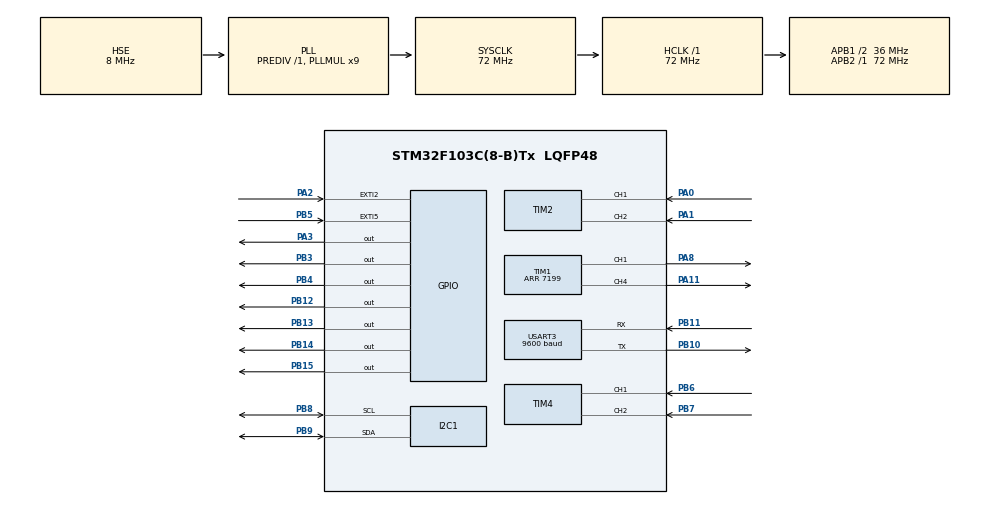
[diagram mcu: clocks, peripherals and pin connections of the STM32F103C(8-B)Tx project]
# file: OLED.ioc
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Mcu.Family=STM32F1
Mcu.Name=STM32F103C(8-B)Tx
Mcu.Package=LQFP48
NVIC.EXTI2_IRQn=true\:0\:0\:false\:false\:true\:true\:true\:true
NVIC.EXTI9_5_IRQn=true\:0\:0\:false\:false\:true\:true\:true\:true
NVIC.PriorityGroup=NVIC_PRIORITYGROUP_4
NVIC.TIM3_IRQn=true\:0\:0\:false\:false\:true\:true\:true\:true
NVIC.USART3_IRQn=true\:0\:0\:false\:false\:true\:true\:true\:true
PA0-WKUP.Signal=S_TIM2_CH1_ETR
PA1.Signal=S_TIM2_CH2
PA11.Signal=S_TIM1_CH4
PA13.Mode=Serial_Wire
PA13.Signal=SYS_JTMS-SWDIO
PA14.Mode=Serial_Wire
PA14.Signal=SYS_JTCK-SWCLK
PA2.GPIO_ModeDefaultEXTI=GPIO_MODE_IT_RISING_FALLING
PA2.Signal=GPXTI2
PA3.GPIO_Speed=GPIO_SPEED_FREQ_HIGH
PA3.Signal=GPIO_Output
PA8.Signal=S_TIM1_CH1
PB10.Mode=Asynchronous
PB10.Signal=USART3_TX
PB11.Mode=Asynchronous
PB11.Signal=USART3_RX
PB12.Signal=GPIO_Output
PB13.Signal=GPIO_Output
PB14.Signal=GPIO_Output
PB15.Signal=GPIO_Output
PB3.GPIO_Speed=GPIO_SPEED_FREQ_HIGH
PB3.Signal=GPIO_Output
PB4.GPIO_Speed=GPIO_SPEED_FREQ_HIGH
PB4.Signal=GPIO_Output
PB5.GPIO_ModeDefaultEXTI=GPIO_MODE_IT_FALLING
PB5.GPIO_PuPd=GPIO_PULLUP
PB5.Signal=GPXTI5
PB6.Signal=S_TIM4_CH1
PB7.Signal=S_TIM4_CH2
PB8.Mode=I2C
PB8.Signal=I2C1_SCL
PB9.Mode=I2C
PB9.Signal=I2C1_SDA
PC14-OSC32_IN.Mode=LSE-External-Oscillator
PC14-OSC32_IN.Signal=RCC_OSC32_IN
PC15-OSC32_OUT.Mode=LSE-External-Oscillator
PC15-OSC32_OUT.Signal=RCC_OSC32_OUT
PD0-OSC_IN.Mode=HSE-External-Oscillator
PD0-OSC_IN.Signal=RCC_OSC_IN
PD1-OSC_OUT.Mode=HSE-External-Oscillator
PD1-OSC_OUT.Signal=RCC_OSC_OUT
ProjectManager.HeapSize=0x200
ProjectManager.StackSize=0x400
ProjectManager.TargetToolchain=MDK-ARM V5.32
RCC.AHBFreq_Value=72000000
RCC.APB1CLKDivider=RCC_HCLK_DIV2
RCC.APB1Freq_Value=36000000
RCC.APB1TimFreq_Value=72000000
RCC.APB2Freq_Value=72000000
RCC.APB2TimFreq_Value=72000000
RCC.HCLKFreq_Value=72000000
RCC.PLLMUL=RCC_PLL_MUL9
RCC.PLLSourceVirtual=RCC_PLLSOURCE_HSE
RCC.SYSCLKFreq_VALUE=72000000
RCC.SYSCLKSource=RCC_SYSCLKSOURCE_PLLCLK
RCC.USBFreq_Value=72000000
SH.S_TIM1_CH1.0=TIM1_CH1,PWM Generation1 CH1
SH.S_TIM1_CH4.0=TIM1_CH4,PWM Generation4 CH4
SH.S_TIM2_CH1_ETR.0=TIM2_CH1,Encoder_Interface
SH.S_TIM2_CH2.0=TIM2_CH2,Encoder_Interface
SH.S_TIM4_CH1.0=TIM4_CH1,Encoder_Interface
SH.S_TIM4_CH2.0=TIM4_CH2,Encoder_Interface
TIM1.Channel-PWM\ Generation1\ CH1=TIM_CHANNEL_1
TIM1.Channel-PWM\ Generation4\ CH4=TIM_CHANNEL_4
TIM1.Period=7199
TIM1.Pulse-PWM\ Generation1\ CH1=7200
TIM1.Pulse-PWM\ Generation4\ CH4=7200
TIM2.EncoderMode=TIM_ENCODERMODE_TI12
TIM3.Prescaler=71
TIM4.EncoderMode=TIM_ENCODERMODE_TI12
USART3.BaudRate=9600
USART3.VirtualMode=VM_ASYNC
VP_TIM3_VS_ClockSourceINT.Mode=Internal
board=custom

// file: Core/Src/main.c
/* USER CODE BEGIN Header */
/**
  ******************************************************************************
  * @file           : main.c
  * @brief          : Main program body
  ******************************************************************************
  * @attention
  *
  * Copyright (c) 2026 STMicroelectronics.
  * All rights reserved.
  *
  * This software is licensed under terms that can be found in the LICENSE file
  * in the root directory of this software component.
  * If no LICENSE file comes with this software, it is provided AS-IS.
  *
  ******************************************************************************
  */
/* USER CODE END Header */
#include "main.h"
#include "i2c.h"
#include "tim.h"
#include "usart.h"
#include "gpio.h"

/* USER CODE BEGIN Includes */
#include "oled.h"
#include "mpu6050.h"
#include "inv_mpu.h"
#include "motor.h"
#include "App_FreeRTOS.h"

/* USER CODE END Includes */

/* USER CODE BEGIN PV */

//OLED显示缓冲区
uint8_t display_buf[20];
extern float distance;
//记录上一个uwTick
uint32_t sys_tick;

extern uint8_t rx_buf[2];
/* USER CODE END PV */

void SystemClock_Config(void);

int main(void)
{

  /* MCU Configuration--------------------------------------------------------*/

  /* Reset of all peripherals, Initializes the Flash interface and the Systick. */
  HAL_Init();

  /* Configure the system clock */
  SystemClock_Config();

  /* Initialize all configured peripherals */
  MX_GPIO_Init();
  MX_I2C1_Init();
  MX_TIM3_Init();
  MX_TIM1_Init();
  MX_TIM2_Init();
  MX_TIM4_Init();
  MX_USART3_UART_Init();
  /* USER CODE BEGIN 2 */
  //初始化OLED
  OLED_Init();
  //OLED锟斤拷锟斤拷
  OLED_Clear();
  //初始化MPU6050
  MPU_Init();
  mpu_dmp_init();

  //初始化PWM
  HAL_TIM_PWM_Start(&htim1,TIM_CHANNEL_1);
  HAL_TIM_PWM_Start(&htim1,TIM_CHANNEL_4);

  //初始化Encoder
  HAL_TIM_Encoder_Start(&htim2,TIM_CHANNEL_ALL);
  HAL_TIM_Encoder_Start(&htim4,TIM_CHANNEL_ALL);

  HAL_UART_Receive_IT(&huart3,rx_buf,1);
  Load(0,0);
  OLED_Clear();

  App_FreeRTOS_Init();

  /* USER CODE END 2 */

  /* Infinite loop */
  /* USER CODE BEGIN WHILE */
  while (1)
  {

    /*

    */
    /* USER CODE END WHILE */

  }
}

void SystemClock_Config(void)
{
  RCC_OscInitTypeDef RCC_OscInitStruct = {0};
  RCC_ClkInitTypeDef RCC_ClkInitStruct = {0};

  /** Initializes the RCC Oscillators according to the specified parameters
  * in the RCC_OscInitTypeDef structure.
  */
  RCC_OscInitStruct.OscillatorType = RCC_OSCILLATORTYPE_HSE;
  RCC_OscInitStruct.HSEState = RCC_HSE_ON;
  RCC_OscInitStruct.HSEPredivValue = RCC_HSE_PREDIV_DIV1;
  RCC_OscInitStruct.HSIState = RCC_HSI_ON;
  RCC_OscInitStruct.PLL.PLLState = RCC_PLL_ON;
  RCC_OscInitStruct.PLL.PLLSource = RCC_PLLSOURCE_HSE;
  RCC_OscInitStruct.PLL.PLLMUL = RCC_PLL_MUL9;
  if (HAL_RCC_OscConfig(&RCC_OscInitStruct) != HAL_OK)
  {
    Error_Handler();
  }

  /** Initializes the CPU, AHB and APB buses clocks
  */
  RCC_ClkInitStruct.ClockType = RCC_CLOCKTYPE_HCLK|RCC_CLOCKTYPE_SYSCLK
                              |RCC_CLOCKTYPE_PCLK1|RCC_CLOCKTYPE_PCLK2;
  RCC_ClkInitStruct.SYSCLKSource = RCC_SYSCLKSOURCE_PLLCLK;
  RCC_ClkInitStruct.AHBCLKDivider = RCC_SYSCLK_DIV1;
  RCC_ClkInitStruct.APB1CLKDivider = RCC_HCLK_DIV2;
  RCC_ClkInitStruct.APB2CLKDivider = RCC_HCLK_DIV1;

  if (HAL_RCC_ClockConfig(&RCC_ClkInitStruct, FLASH_LATENCY_2) != HAL_OK)
  {
    Error_Handler();
  }
}

void Error_Handler(void)
{
  __disable_irq();
  while (1)
  {
  }
}
